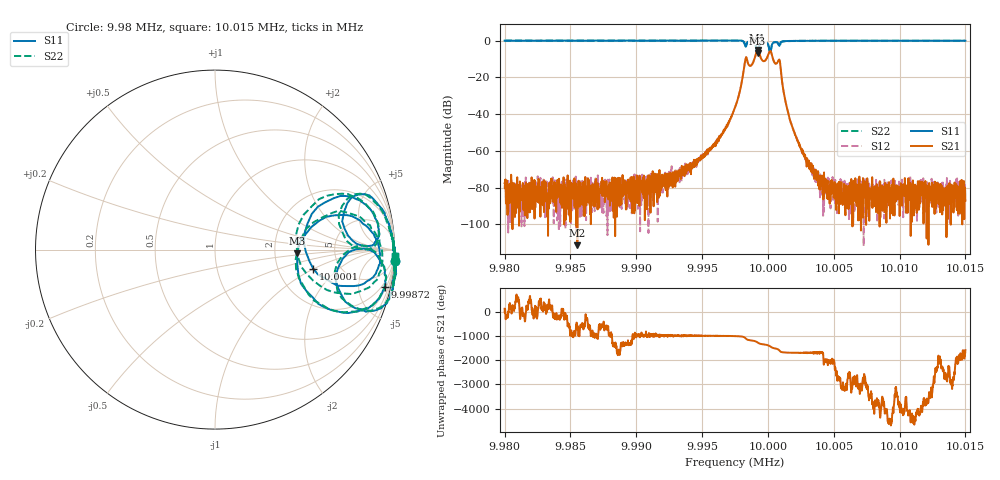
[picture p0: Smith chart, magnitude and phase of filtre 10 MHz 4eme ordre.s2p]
! ListType=Lin
!!filtre 10 MHz 4eme ordre
# MHZ S DB R 50
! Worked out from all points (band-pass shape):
!   2048 points, 9.98 MHz to 10.015 MHz, reference 50 ohm
!   highest |S21| = -5.15 dB at 9.99922 MHz (marker M1); lowest = -111.5 dB at 9.98552 MHz (marker M2)
!   |S21| within 3 dB of the highest: 9.999053 MHz to 9.999396 MHz (343.2 Hz wide, 0.00343 % of centre); 9.999999 MHz to 10.00032 MHz (321.1 Hz wide, 0.00321 % of centre)
!   lowest |S11| = -6.8 dB at 9.99922 MHz (marker M3), VSWR 2.70, Z = 134 - j7.29 ohm
!   |S11| at or under -10 dB: nowhere
!   |S22| runs from -6.9 to 0.1 dB; largest |S21 - S12| = 0.011
!   S11 on the Smith chart (normalised r, x): 9.98 MHz: -3, -32; 9.99872 MHz: 1.32, -8.92; 10.0001 MHz: 3.18, -0.99; 10.015 MHz: -5, -55
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9.98  0.05 -3.5  -77.70 117.8  -80.22 -42.0  0.02 -3.7
9.985523  0.02 -4.0  -111.53 -23.1  -80.93 -120.0  0.04 -4.1
9.985848  0.05 -4.1  -79.94 146.8  -77.05 157.4  0.04 -4.2
9.991678  0.03 -4.9  -75.19 107.8  -75.56 95.0  0.03 -5.0
9.992858  0.06 -4.9  -72.04 82.6  -77.42 88.8  0.08 -5.2
9.995354  0.09 -6.4  -60.90 84.0  -62.39 81.8  0.06 -6.7
9.996585  0.11 -7.9  -50.20 78.8  -50.15 75.0  0.11 -8.0
9.997509  0.12 -11.3  -36.07 68.1  -35.99 68.6  0.13 -11.4
9.998278  -2.54 -19.6  -10.52 -5.7  -10.37 -6.1  -2.86 -18.6
9.998722  -0.28 -12.5  -13.50 -107.0  -13.45 -107.1  -0.30 -12.9
9.998996  -1.26 -23.3  -9.44 -134.4  -9.35 -134.4  -1.37 -23.9
9.999218  -6.76 -2.7  -5.15 166.2  -5.12 165.6  -6.72 0.9
9.999406  -1.66 11.2  -8.38 114.0  -8.39 113.5  -1.47 11.2
9.99968  -0.72 -1.8  -11.12 87.1  -11.10 87.0  -0.59 -2.7
10.00012  -5.07 -11.1  -6.02 20.6  -5.94 19.8  -5.53 -14.9
10.0004  -1.14 16.5  -10.15 -60.3  -10.20 -60.8  -1.21 17.5
10.00084  -2.57 6.2  -10.34 -147.1  -10.26 -147.5  -2.72 4.1
10.00173  -0.10 4.9  -44.59 106.7  -44.61 106.2  -0.15 5.4
10.00334  -0.02 1.1  -71.70 97.4  -68.01 103.8  -0.04 1.1
10.00459  -0.02 0.1  -82.99 56.5  -82.31 88.4  -0.03 0.2
10.00917  0.01 -1.6  -81.57 144.0  -83.29 -97.1  0.03 -1.6
10.015  0.03 -2.1  -87.05 -147.4  -84.28 156.9  0.02 -2.1
